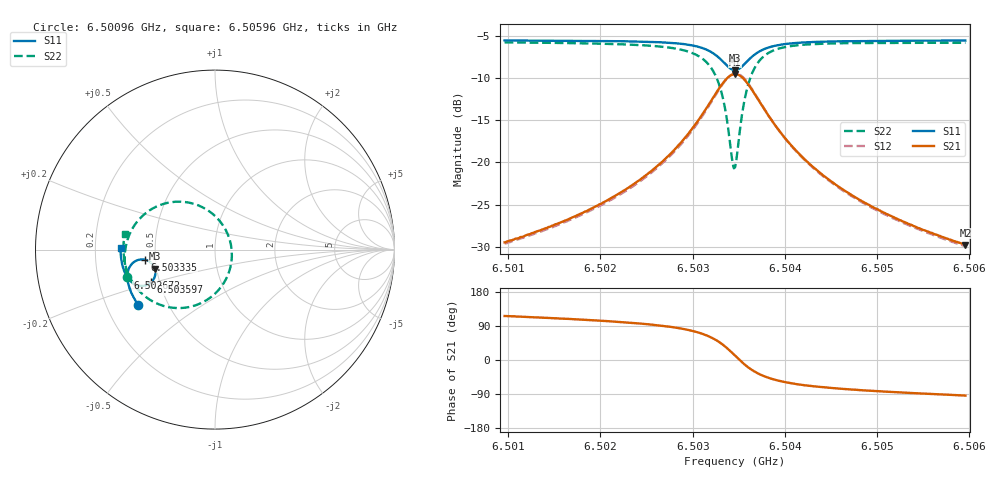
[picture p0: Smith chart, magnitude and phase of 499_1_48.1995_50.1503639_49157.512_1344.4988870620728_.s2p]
#  HZ  S  RI  R  50.00
! Rohde & Schwarz Vector Network Analyzer
! Rohde-Schwarz,ZNB20-2Port,1311601062101988,3.16
! Created: UTC 3/20/2024, 11:58:23 AM
! freq[Hz]  re:S11  im:S11  re:S21  im:S21  re:S12  im:S12  re:S22  im:S22
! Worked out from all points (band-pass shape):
!   401 points, 6.50096 GHz to 6.50596 GHz, reference 50 ohm
!   highest |S21| = -9.54 dB at 6.50346 GHz (marker M1); lowest = -29.7 dB at 6.50596 GHz (marker M2)
!   |S21| within 3 dB of the highest: 6.50321 GHz to 6.50371 GHz (499.6 kHz wide, 0.00768 % of centre)
!   lowest |S11| = -9.1 dB at 6.50346 GHz (marker M3), VSWR 2.08, Z = 24.4 - j5.91 ohm
!   |S11| at or under -10 dB: nowhere
!   |S22| runs from -20.7 to -5.8 dB; largest |S21 - S12| = 0.011
!   S11 on the Smith chart (normalised r, x): 6.50096 GHz: 0.34, -0.29; 6.502672 GHz: 0.33, -0.14; 6.503335 GHz: 0.44, -0.06; 6.503597 GHz: 0.45, -0.19; 6.50596 GHz: 0.31, +0.01
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6.5009598e9  -0.4265 -0.31  -0.0148 0.0303  -0.0132 0.0304  -0.4897 -0.1544
6.5017972e9  -0.4625 -0.2477  -0.0142 0.0481  -0.0118 0.0477  -0.5029 -0.0654
6.5022847e9  -0.4795 -0.2041  -0.0111 0.0691  -0.00808 0.0681  -0.499 0.00469
6.5026347e9  -0.4876 -0.165  -0.00216 0.0971  0.00135 0.095  -0.4801 0.0759
6.5026722e9  -0.4881 -0.1601  -0.000452 0.1013  0.00301 0.099  -0.4761 0.0854
6.5029472e9  -0.484 -0.1172  0.0264 0.1441  0.03 0.14  -0.4202 0.1713
6.5031347e9  -0.4625 -0.0789  0.0811 0.1867  0.0832 0.1808  -0.3161 0.2442
6.5032472e9  -0.4295 -0.058  0.1509 0.2043  0.1513 0.1985  -0.1906 0.2669
6.5033347e9  -0.3886 -0.0563  0.2312 0.188  0.2312 0.1838  -0.0518 0.2262
6.5034346e9  -0.3417 -0.0912  0.3163 0.1  0.3191 0.096  0.0823 0.0541
6.5034596e9  -0.3352 -0.106  0.3266 0.0673  0.3302 0.0624  0.0932 -0.00693
6.5034846e9  -0.3322 -0.1221  0.3303 0.033  0.3342 0.027  0.0914 -0.0691
6.5035221e9  -0.3341 -0.1458  0.3233 -0.0165  0.327 -0.0247  0.0651 -0.157
6.5035596e9  -0.3428 -0.1665  0.3044 -0.0593  0.3065 -0.0691  0.0172 -0.2283
6.5035971e9  -0.3559 -0.1823  0.2778 -0.0921  0.2781 -0.1031  -0.0425 -0.2787
6.5037096e9  -0.4008 -0.2021  0.1923 -0.1374  0.1874 -0.1467  -0.2157 -0.3255
6.5038721e9  -0.4477 -0.1928  0.1095 -0.1339  0.1029 -0.139  -0.3648 -0.2781
6.5040471e9  -0.4754 -0.1713  0.0644 -0.1133  0.0584 -0.1158  -0.4377 -0.2124
6.5042971e9  -0.4963 -0.1413  0.0342 -0.0888  0.0295 -0.0893  -0.4815 -0.1397
6.5046596e9  -0.5115 -0.1033  0.0154 -0.0658  0.0121 -0.0655  -0.5037 -0.0667
6.5051346e9  -0.5214 -0.0591  0.0051 -0.0485  0.00291 -0.0478  -0.5103 0.00125
6.5059595e9  -0.5265 0.0108  -0.00223 -0.0325  -0.00336 -0.0318  -0.5027 0.0887
